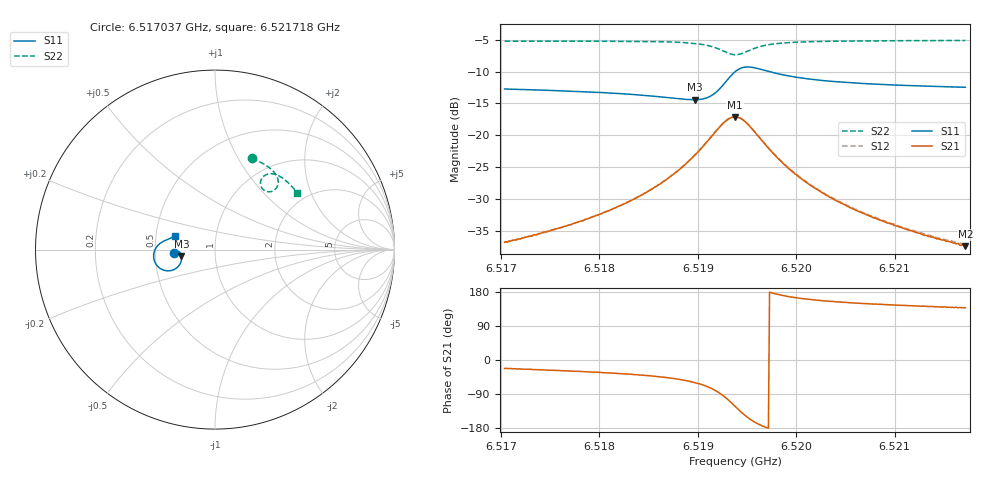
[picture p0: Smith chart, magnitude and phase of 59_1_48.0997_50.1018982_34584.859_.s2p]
#  HZ  S  RI  R  50.00
! Rohde & Schwarz Vector Network Analyzer
! Rohde-Schwarz,ZNB20-2Port,1311601062101988,3.16
! Created: UTC 12/23/2023, 3:40:33 AM
! freq[Hz]  re:S11  im:S11  re:S21  im:S21  re:S12  im:S12  re:S22  im:S22
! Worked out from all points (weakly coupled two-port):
!   401 points, 6.517037 GHz to 6.521718 GHz, reference 50 ohm
!   highest |S21| = -17.11 dB at 6.519378 GHz (marker M1); lowest = -37.5 dB at 6.521718 GHz (marker M2)
!   lowest |S11| = -14.4 dB at 6.518968 GHz (marker M3), VSWR 1.47, Z = 34.2 - j2.58 ohm
!   |S11| at or under -10 dB: start of sweep to 6.51938 GHz; 6.519729 GHz to end of sweep
!   |S22| runs from -7.3 to -5.1 dB; largest |S21 - S12| = 0.0042
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6.5170373e9  -0.2303 -0.0166  0.0133 -0.00552  0.0134 -0.00505  0.2063 0.5082
6.5174468e9  -0.2257 -0.0107  0.0156 -0.00763  0.0156 -0.00715  0.2367 0.4951
6.5178213e9  -0.2201 -0.00645  0.0184 -0.0107  0.0186 -0.0101  0.2643 0.4809
6.5182426e9  -0.2117 -0.00457  0.023 -0.0169  0.0237 -0.0164  0.2962 0.4611
6.5186053e9  -0.2006 -0.00944  0.0294 -0.0285  0.0304 -0.0277  0.3242 0.4369
6.5187926e9  -0.1932 -0.0183  0.0334 -0.0401  0.0347 -0.0392  0.3387 0.4188
6.5189681e9  -0.1867 -0.0364  0.0353 -0.0599  0.0375 -0.059  0.3503 0.3939
6.5190734e9  -0.1867 -0.0562  0.0321 -0.079  0.0348 -0.0785  0.3523 0.3727
6.5191553e9  -0.1937 -0.0781  0.0222 -0.0986  0.0254 -0.0988  0.3472 0.352
6.519284e9  -0.2369 -0.1144  -0.0219 -0.1274  -0.0183 -0.1291  0.3137 0.3236
6.5193308e9  -0.2652 -0.1183  -0.0477 -0.1279  -0.0444 -0.1303  0.2932 0.3227
6.5193776e9  -0.2952 -0.1107  -0.074 -0.1181  -0.0712 -0.1212  0.2731 0.3311
6.5194245e9  -0.3206 -0.0919  -0.0944 -0.0988  -0.0923 -0.1023  0.2591 0.3475
6.519483e9  -0.3385 -0.0601  -0.1067 -0.0693  -0.1055 -0.0729  0.2534 0.3722
6.5195766e9  -0.3388 -0.0139  -0.1021 -0.0295  -0.1021 -0.0327  0.2654 0.4029
6.5196819e9  -0.3229 0.0178  -0.0848 -0.00489  -0.0855 -0.00735  0.2885 0.4189
6.5199276e9  -0.2885 0.0459  -0.053 0.0122  -0.0539 0.0108  0.3317 0.4202
6.5201617e9  -0.2694 0.0547  -0.0369 0.0142  -0.0378 0.0132  0.3588 0.4093
6.5205478e9  -0.2512 0.062  -0.0237 0.013  -0.0244 0.0126  0.3909 0.3876
6.5209457e9  -0.2399 0.0677  -0.0167 0.0114  -0.0172 0.0112  0.4166 0.3641
6.5212968e9  -0.2324 0.0725  -0.0129 0.0101  -0.0134 0.0101  0.4364 0.3426
6.521718e9  -0.225 0.0782  -0.00993 0.00902  -0.0104 0.00889  0.4573 0.3166
